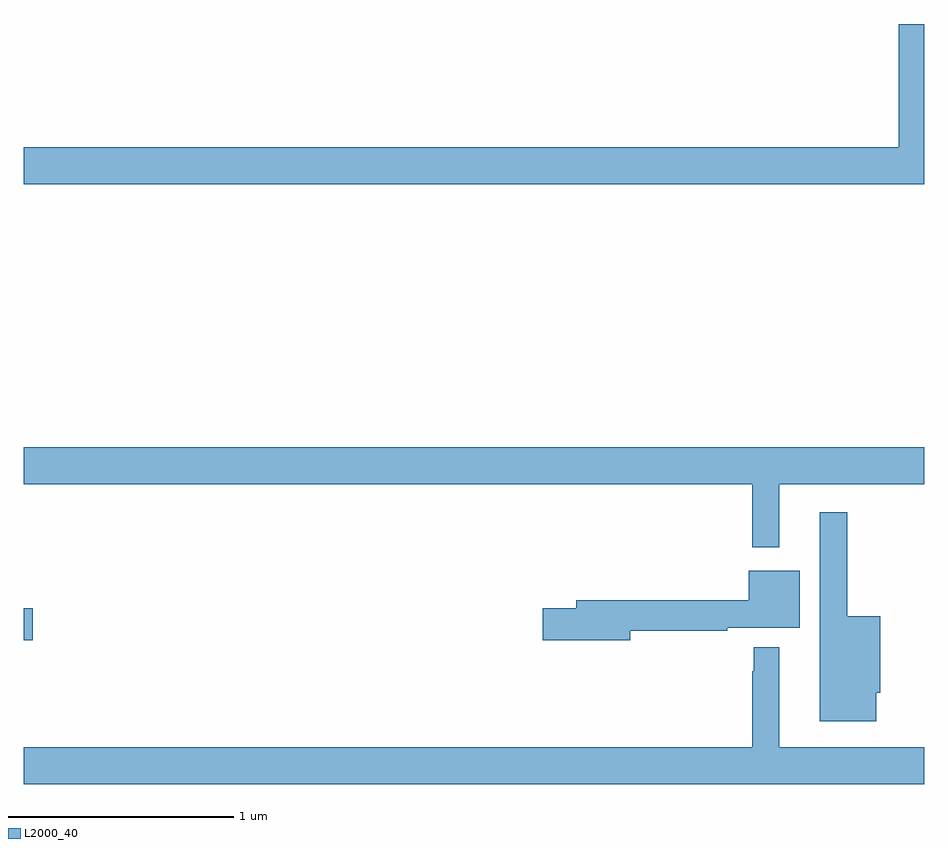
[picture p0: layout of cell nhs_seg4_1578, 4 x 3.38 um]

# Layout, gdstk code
import gdstk
lib = gdstk.Library(unit=1e-6, precision=1e-09)
def R(c, l, rs):  # rectangles x0, y0, x1, y1
    for r in rs: c.add(gdstk.rectangle(r[:2], r[2:], *l))
def P(c, l, *ps):  # polygons
    for p in ps: c.add(gdstk.Polygon(p, *l))
L2000_40 = (2000, 40)

nhs_seg4_1578 = lib.new_cell('nhs_seg4_1578')
R(nhs_seg4_1578, L2000_40, [(193,760.162,193.039,760.304)])
P(nhs_seg4_1578, L2000_40, [(197,762.9),(196.886,762.9),(196.886,762.352),(193,762.352),(193,762.188),(197,762.188)],
  [(196.357,760.856),(197,760.856),(197,761.02),(193,761.02),(193,760.856),(196.236,760.856),(196.236,760.575),(196.357,760.575)],
  [(196.786,759.93),(196.804,759.93),(196.804,760.27),(196.657,760.27),(196.657,760.732),(196.535,760.732),(196.535,759.803),(196.786,759.803)],
  [(195.694,760.204),(196.124,760.204),(196.124,760.217),(196.447,760.217),(196.447,760.471),(196.22,760.471),(196.22,760.34),(195.455,760.34),(195.455,760.304),(195.306,760.304),(195.306,760.162),(195.694,760.162)],
  [(197,759.688),(196.357,759.688),(196.357,760.132),(196.242,760.132),(196.242,760.025),(196.236,760.025),(196.236,759.688),(193,759.688),(193,759.524),(197,759.524)])

lib.write_gds('nhs_seg4_1578.gds')
